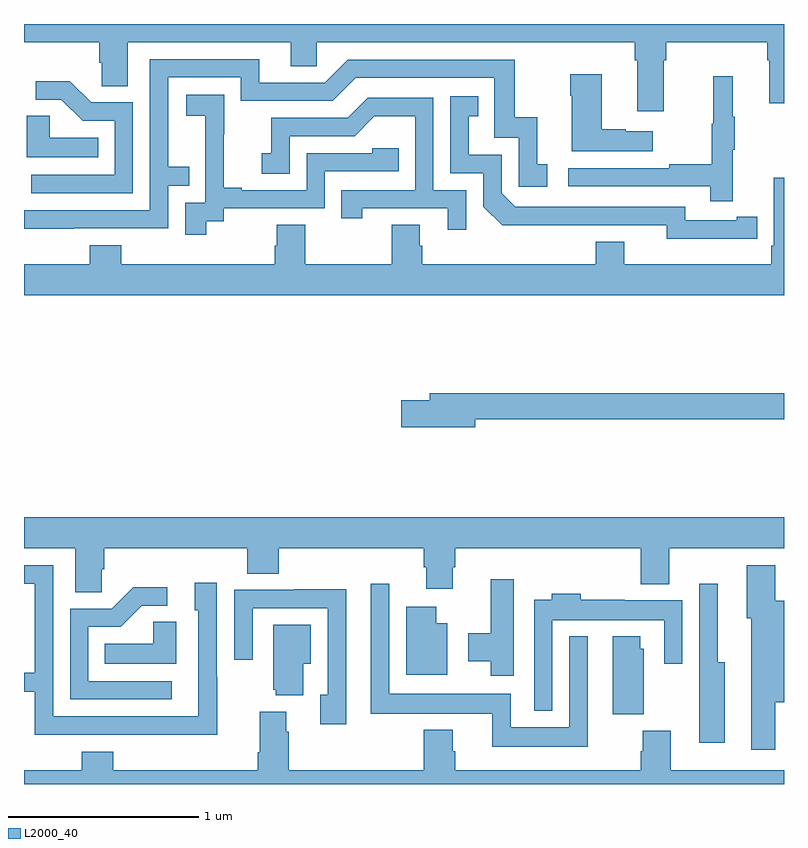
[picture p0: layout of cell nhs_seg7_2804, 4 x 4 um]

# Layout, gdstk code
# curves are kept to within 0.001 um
import gdstk
lib = gdstk.Library(unit=1e-6, precision=1e-09)
def P(c, l, *ps):  # polygons
    for p in ps: c.add(gdstk.Polygon(p, *l))
L2000_40 = (2000, 40)

nhs_seg7_2804 = lib.new_cell('nhs_seg7_2804')
P(nhs_seg7_2804, L2000_40, [(294.367,1045.808),(294.38,1045.808),(294.38,1045.904),(294.911,1045.904),(294.911,1045.808),(294.923,1045.808),(294.923,1045.584),(295,1045.584),(295,1046),(291,1046),(291,1045.904),(291.395,1045.904),(291.395,1045.795),(291.408,1045.795),(291.408,1045.672),(291.547,1045.672),(291.547,1045.904),(292.403,1045.904),(292.403,1045.777),(292.542,1045.777),(292.542,1045.904),(294.215,1045.904),(294.215,1045.808),(294.227,1045.808),(294.227,1045.542),(294.367,1045.542)],
  [(291.263,1044.924),(291.759,1044.924),(291.759,1045.149),(291.869,1045.149),(291.869,1045.25),(291.759,1045.25),(291.759,1045.719),(292.14,1045.719),(292.14,1045.596),(292.626,1045.596),(292.746,1045.716),(293.475,1045.716),(293.475,1045.401),(293.604,1045.401),(293.604,1045.143),(293.755,1045.143),(293.755,1045.263),(293.702,1045.263),(293.702,1045.51),(293.584,1045.51),(293.584,1045.812),(292.704,1045.812),(292.584,1045.692),(292.237,1045.692),(292.237,1045.815),(291.663,1045.815),(291.663,1045.02),(291,1045.02),(291,1044.923)],
  [(294.31,1045.435),(294.167,1045.435),(294.167,1045.445),(294.04,1045.445),(294.04,1045.735),(293.875,1045.735),(293.875,1045.622),(293.882,1045.622),(293.882,1045.331),(294.31,1045.331)],
  [(294.731,1045.339),(294.742,1045.339),(294.742,1045.513),(294.731,1045.513),(294.731,1045.726),(294.628,1045.726),(294.628,1045.476),(294.621,1045.476),(294.621,1045.262),(294.397,1045.262),(294.397,1045.242),(293.865,1045.242),(293.865,1045.146),(294.613,1045.146),(294.613,1045.068),(294.731,1045.068)],
  [(291.573,1045.587),(291.354,1045.587),(291.241,1045.7),(291.063,1045.7),(291.063,1045.602),(291.197,1045.602),(291.308,1045.491),(291.477,1045.491),(291.477,1045.206),(291.039,1045.206),(291.039,1045.11),(291.573,1045.11)],
  [(291.958,1044.961),(292.05,1044.961),(292.05,1045.029),(292.584,1045.029),(292.584,1045.224),(292.973,1045.224),(292.973,1045.347),(292.833,1045.347),(292.833,1045.32),(292.488,1045.32),(292.488,1045.125),(292.147,1045.125),(292.147,1045.138),(292.052,1045.138),(292.052,1045.421),(292.053,1045.421),(292.053,1045.627),(291.855,1045.627),(291.855,1045.517),(291.953,1045.517),(291.953,1045.289),(291.954,1045.289),(291.954,1045.059),(291.849,1045.059),(291.849,1044.891),(291.958,1044.891)],
  [(294.752,1044.87),(294.86,1044.87),(294.86,1044.986),(294.752,1044.986),(294.752,1044.966),(294.48,1044.966),(294.48,1045.038),(293.586,1045.038),(293.514,1045.11),(293.514,1045.311),(293.341,1045.311),(293.341,1045.515),(293.39,1045.515),(293.39,1045.621),(293.244,1045.621),(293.244,1045.215),(293.418,1045.215),(293.418,1045.038),(293.516,1044.941),(294.384,1044.942),(294.384,1044.869)],
  [(293.328,1045.125),(293.154,1045.125),(293.154,1045.611),(292.808,1045.611),(292.703,1045.506),(292.3,1045.506),(292.3,1045.321),(292.251,1045.321),(292.251,1045.212),(292.398,1045.212),(292.398,1045.41),(292.74,1045.41),(292.844,1045.514),(293.058,1045.514),(293.058,1045.125),(292.669,1045.125),(292.669,1044.978),(292.78,1044.978),(292.78,1045.029),(293.231,1045.029),(293.231,1044.918),(293.328,1044.918)],
  [(291.392,1045.402),(291.135,1045.402),(291.135,1045.517),(291.014,1045.517),(291.014,1045.298),(291.392,1045.298)],
  [(295,1045.192),(294.945,1045.192),(294.945,1044.832),(294.932,1044.832),(294.932,1044.736),(294.16,1044.736),(294.16,1044.853),(294.008,1044.853),(294.008,1044.736),(293.096,1044.736),(293.096,1044.834),(293.083,1044.834),(293.083,1044.944),(292.936,1044.944),(292.936,1044.736),(292.479,1044.736),(292.479,1044.944),(292.331,1044.944),(292.331,1044.834),(292.319,1044.834),(292.319,1044.736),(291.512,1044.736),(291.512,1044.835),(291.347,1044.835),(291.347,1044.736),(291,1044.736),(291,1044.572),(295,1044.572)],
  [(293.374,1043.92),(295,1043.92),(295,1044.056),(293.135,1044.056),(293.135,1044.02),(292.986,1044.02),(292.986,1043.878),(293.374,1043.878)],
  [(291.408,1043.131),(291.422,1043.131),(291.422,1043.24),(292.175,1043.24),(292.175,1043.107),(292.34,1043.107),(292.34,1043.24),(293.105,1043.24),(293.105,1043.142),(293.117,1043.142),(293.117,1043.028),(293.257,1043.028),(293.257,1043.142),(293.27,1043.142),(293.27,1043.24),(294.245,1043.24),(294.245,1043.051),(294.397,1043.051),(294.397,1043.24),(295,1043.24),(295,1043.404),(291,1043.404),(291,1043.24),(291.269,1043.24),(291.269,1043.008),(291.408,1043.008)],
  [(294.955,1042.43),(295,1042.43),(295,1042.965),(294.955,1042.965),(294.955,1043.152),(294.803,1043.152),(294.803,1042.872),(294.827,1042.872),(294.827,1042.179),(294.955,1042.179)],
  [(292.017,1042.565),(292.014,1042.565),(292.014,1043.059),(291.899,1043.059),(291.899,1042.914),(291.918,1042.914),(291.918,1042.356),(291.153,1042.356),(291.153,1043.151),(291,1043.151),(291,1043.055),(291.057,1043.055),(291.057,1042.586),(291,1042.586),(291,1042.485),(291.057,1042.485),(291.057,1042.26),(291.553,1042.26),(291.553,1042.259),(292.017,1042.259)],
  [(293.578,1043.077),(293.456,1043.077),(293.456,1042.794),(293.339,1042.794),(293.339,1042.646),(293.456,1042.646),(293.456,1042.569),(293.578,1042.569)],
  [(293.968,1042.777),(293.871,1042.777),(293.871,1042.3),(293.562,1042.3),(293.562,1042.474),(292.923,1042.474),(292.923,1043.053),(292.826,1043.053),(292.826,1042.37),(293.465,1042.37),(293.465,1042.196),(293.968,1042.196)],
  [(294.688,1042.642),(294.652,1042.642),(294.652,1043.053),(294.555,1043.053),(294.555,1042.538),(294.554,1042.538),(294.554,1042.218),(294.688,1042.218)],
  [(291.778,1042.542),(291.339,1042.542),(291.339,1042.827),(291.508,1042.827),(291.619,1042.938),(291.754,1042.938),(291.754,1043.036),(291.575,1043.036),(291.462,1042.923),(291.243,1042.923),(291.243,1042.446),(291.778,1042.446)],
  [(292.696,1043.024),(292.423,1043.024),(292.423,1043.022),(292.107,1043.022),(292.107,1042.653),(292.203,1042.653),(292.203,1042.926),(292.599,1042.926),(292.599,1042.47),(292.559,1042.47),(292.559,1042.314),(292.696,1042.314)],
  [(293.781,1042.862),(294.369,1042.862),(294.369,1042.632),(294.465,1042.632),(294.465,1042.966),(294.161,1042.966),(294.161,1042.969),(293.93,1042.969),(293.93,1043.002),(293.777,1043.002),(293.777,1042.969),(293.685,1042.969),(293.685,1042.385),(293.781,1042.385)],
  [(293.227,1042.846),(293.17,1042.846),(293.17,1042.933),(293.012,1042.933),(293.012,1042.574),(293.227,1042.574)],
  [(291.802,1042.853),(291.681,1042.853),(291.681,1042.738),(291.424,1042.738),(291.424,1042.634),(291.802,1042.634)],
  [(292.471,1042.634),(292.51,1042.634),(292.51,1042.837),(292.313,1042.837),(292.313,1042.497),(292.325,1042.497),(292.325,1042.466),(292.471,1042.466)],
  [(294.262,1042.713),(294.244,1042.713),(294.244,1042.777),(294.098,1042.777),(294.098,1042.366),(294.262,1042.366)],
  [(295,1042.072),(294.405,1042.072),(294.405,1042.281),(294.257,1042.281),(294.257,1042.172),(294.245,1042.172),(294.245,1042.072),(293.27,1042.072),(293.27,1042.173),(293.257,1042.173),(293.257,1042.285),(293.105,1042.285),(293.105,1042.072),(292.394,1042.072),(292.394,1042.274),(292.381,1042.274),(292.381,1042.381),(292.241,1042.381),(292.241,1042.168),(292.229,1042.168),(292.229,1042.072),(291.47,1042.072),(291.47,1042.171),(291.305,1042.171),(291.305,1042.072),(291,1042.072),(291,1042),(295,1042)])

lib.write_gds('nhs_seg7_2804.gds')
